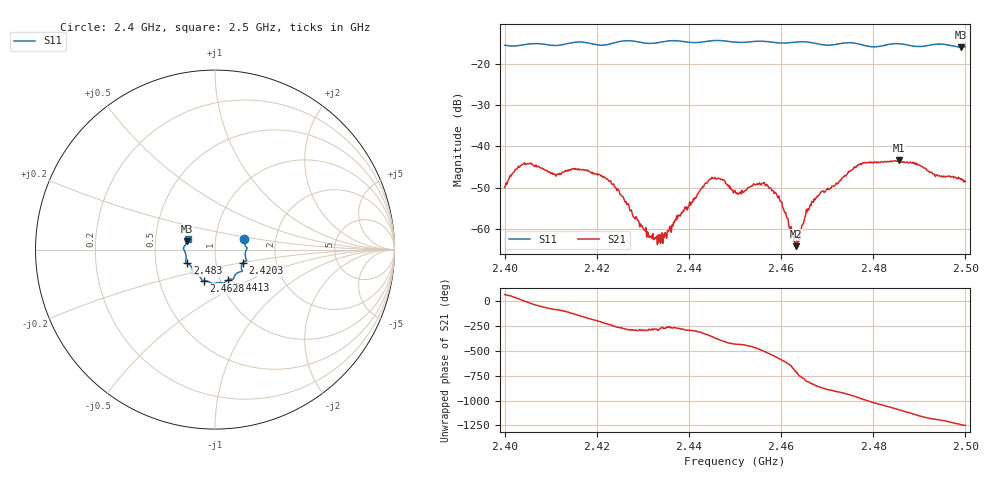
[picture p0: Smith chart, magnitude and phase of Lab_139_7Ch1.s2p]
# Hz S RI R 50
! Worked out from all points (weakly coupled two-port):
!   601 points, 2.4 GHz to 2.5 GHz, reference 50 ohm
!   highest |S21| = -43.39 dB at 2.4855 GHz (marker M1); lowest = -64.3 dB at 2.4632 GHz (marker M2)
!   lowest |S11| = -15.8 dB at 2.499 GHz (marker M3), VSWR 1.39, Z = 36.4 + j3.38 ohm
!   |S11| at or under -10 dB: start of sweep to end of sweep
!   S12 and S22 are empty: the file has one direction only
!   S11 on the Smith chart (normalised r, x): 2.4 GHz: 1.37, +0.16; 2.4203 GHz: 1.35, -0.21; 2.4413 GHz: 1.09, -0.38; 2.4628 GHz: 0.83, -0.30; 2.483 GHz: 0.72, -0.11; 2.5 GHz: 0.73, +0.09
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2.4e9  0.1608 0.0568  0.00118 0.00291  0 0  0 0
2.404e9  0.1714 0.0181  0.00606 0.000681  0 0  0 0
2.411e9  0.1681 -0.0207  0.000615 -0.00454  0 0  0 0
2.416667e9  0.1761 -0.0615  -0.00457 -0.00255  0 0  0 0
2.420333e9  0.1551 -0.074  -0.00433 0.00161  0 0  0 0
2.424167e9  0.1485 -0.1097  -0.00073 0.00304  0 0  0 0
2.431333e9  0.1202 -0.1331  0.00015 0.000771  0 0  0 0
2.433333e9  0.1079 -0.1484  0.00032 0.000773  0 0  0 0
2.441333e9  0.0742 -0.168  0.00113 0.0021  0 0  0 0
2.445167e9  0.0519 -0.1868  0.00408 -6.22e-05  0 0  0 0
2.45e9  0.0293 -0.1837  0.000952 -0.00275  0 0  0 0
2.457333e9  -0.0185 -0.1873  -0.00301 -0.000806  0 0  0 0
2.459667e9  -0.036 -0.178  -0.00175 0.00146  0 0  0 0
2.462833e9  -0.0629 -0.1749  0.000585 0.000386  0 0  0 0
2.463167e9  -0.0648 -0.1748  0.000584 0.000179  0 0  0 0
2.466667e9  -0.0743 -0.1676  -0.000684 -0.00204  0 0  0 0
2.476667e9  -0.1245 -0.1268  -0.00219 0.00552  0 0  0 0
2.483e9  -0.1548 -0.0767  0.00606 0.00257  0 0  0 0
2.483333e9  -0.157 -0.0758  0.00617 0.00205  0 0  0 0
2.4855e9  -0.1639 -0.0697  0.00662 -0.00142  0 0  0 0
2.499e9  -0.1556 0.0452  -0.00373 -0.00134  0 0  0 0
2.5e9  -0.1527 0.0586  -0.00368 -0.000649  0 0  0 0
